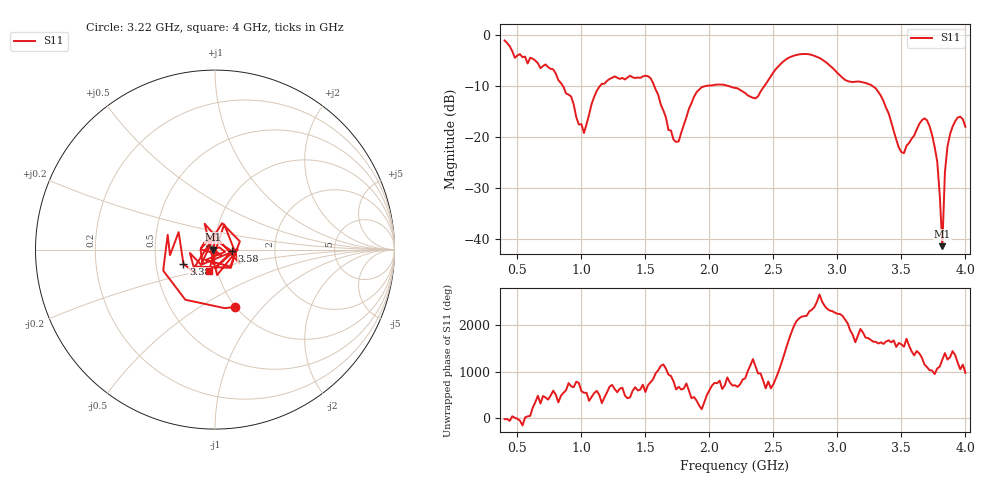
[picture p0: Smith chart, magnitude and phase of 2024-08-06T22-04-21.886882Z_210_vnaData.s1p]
!Created with skrf (http://scikit-rf.org).
# Hz S RI R 50.0
!freq ReS11 ImS11
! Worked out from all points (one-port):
!   181 points, 400 MHz to 4 GHz, reference 50 ohm
!   lowest |S11| = -41.3 dB at 3.82 GHz (marker M1), VSWR 1.02, Z = 49.2 + j0.0446 ohm
!   |S11| at or under -10 dB: 855.2 MHz to 1.146 GHz (290.6 MHz wide, 29 % of centre); 1.569 GHz to 1.977 GHz (407.7 MHz wide, 23 % of centre); 3.272 GHz to end of sweep (the widest 3 of 4)
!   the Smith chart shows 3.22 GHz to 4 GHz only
!   S11 on the Smith chart (normalised r, x): 3.22 GHz: 0.99, -0.71; 3.38 GHz: 0.69, -0.12; 3.58 GHz: 1.21, -0.02; 4 GHz: 0.90, -0.22
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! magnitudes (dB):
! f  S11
! 400 MHz  -1.1
! 780 MHz  -6.8
! 860 MHz  -10.2
! 1.02 GHz  -19.2
! 1.14 GHz  -10.2
! 1.3 GHz  -8.6
! 1.54 GHz  -8.5
! 1.68 GHz  -18.6
! 1.76 GHz  -20.8
! 1.92 GHz  -10.7
! 2.2 GHz  -10.4
! 2.36 GHz  -12.4
! 2.66 GHz  -4.1
! 2.86 GHz  -4.5
! 3.1 GHz  -9.2
! 3.22 GHz  -9.4
! 3.38 GHz  -14.3
! 3.5 GHz  -23.0
! 3.56 GHz  -21.2
! 3.58 GHz  -20.3
! 3.68 GHz  -16.3
! 3.74 GHz  -19.6
! 3.78 GHz  -24.8
! 3.82 GHz  -41.3
! 3.84 GHz  -26.9
! 3.86 GHz  -21.9
! 3.94 GHz  -16.2
! 4 GHz  -18.0
